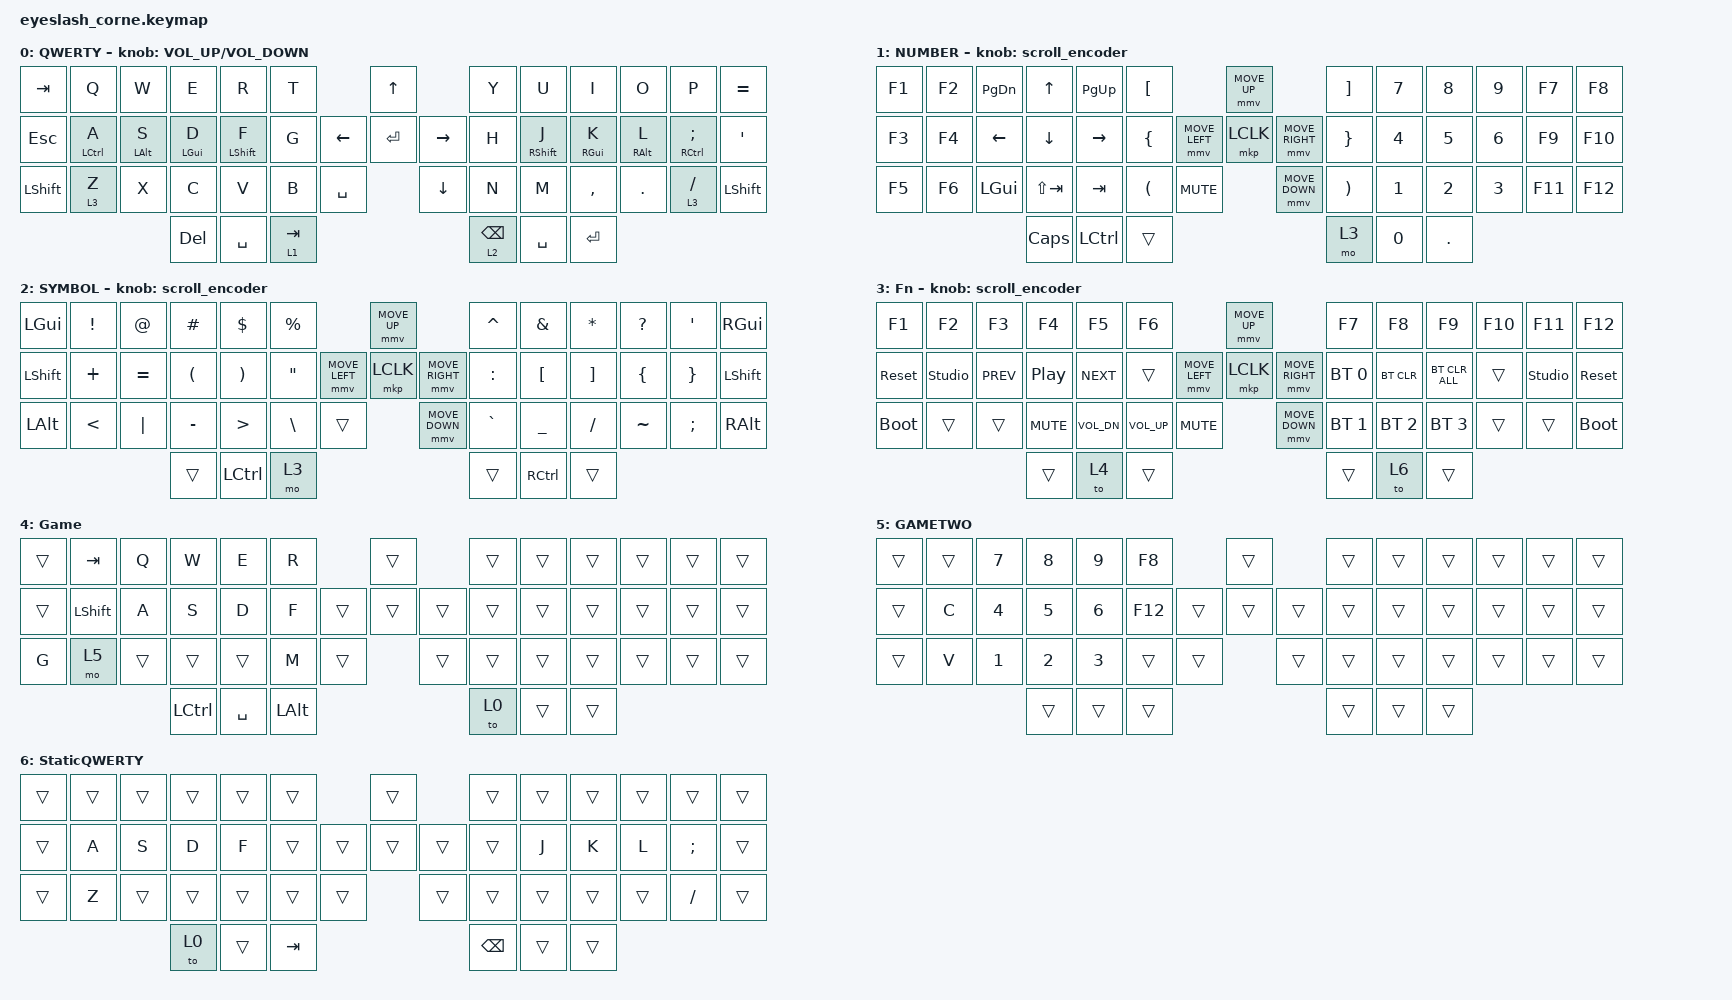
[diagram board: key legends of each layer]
#define ZMK_POINTING_DEFAULT_MOVE_VAL 1200  // 600
#define ZMK_POINTING_DEFAULT_SCRL_VAL 25   // 10

#include <input/processors.dtsi>
#include <zephyr/dt-bindings/input/input-event-codes.h>
#include <behaviors.dtsi>
#include <dt-bindings/zmk/bt.h>
#include <dt-bindings/zmk/keys.h>
#include <dt-bindings/zmk/pointing.h>
#include <dt-bindings/zmk/rgb.h>

&mmv_input_listener { input-processors = <&zip_xy_scaler 2 1>; };

&msc_input_listener { input-processors = <&zip_scroll_scaler 2 1>; };

&msc {
    acceleration-exponent = <1>;      // 0
    time-to-max-speed-ms = <100>;       // 300
    delay-ms = <0>;                   // 0
};

&mmv {
    time-to-max-speed-ms = <500>;
    acceleration-exponent = <1>;
    trigger-period-ms = <16>;
};

&mt {
    flavor = "tap-preferred";
    tapping-term-ms = <200>;
    quick-tap-ms = <200>;
};

/ {
    behaviors {
        td0: td0 {
            compatible = "zmk,behavior-tap-dance";
            display-name = "Shift/Caps Lock Tap Dance";
            #binding-cells = <0>;
            bindings = <&kp LEFT_SHIFT>, <&kp CAPS>;
        };
    };

    rgb_encoder: rgb_encoder {
        compatible = "zmk,behavior-sensor-rotate";
        #sensor-binding-cells = <0>;
        bindings = <&rgb_ug RGB_BRI>, <&rgb_ug RGB_BRD>;
    };

    scroll_encoder: scroll_encoder {
        compatible = "zmk,behavior-sensor-rotate";
        #sensor-binding-cells = <0>;
        bindings = <&msc SCRL_DOWN>, <&msc SCRL_UP>;

        tap-ms = <100>;
    };

    keymap {
        compatible = "zmk,keymap";

        QWERTY {
            display-name = "QWERTY";
            bindings = <
&kp TAB         &kp Q               &kp W           &kp E           &kp R             &kp T                             &kp UP                &kp Y            &kp U              &kp I            &kp O            &kp P                   &kp EQUAL
&kp ESCAPE      &mt LEFT_CONTROL A  &mt LEFT_ALT S  &mt LEFT_GUI D  &mt LEFT_SHIFT F  &kp G                   &kp LEFT  &kp ENTER  &kp RIGHT  &kp H            &mt RIGHT_SHIFT J  &mt RIGHT_GUI K  &mt RIGHT_ALT L  &mt RIGHT_CONTROL SEMI  &kp SQT
&kp LEFT_SHIFT  &lt 3 Z             &kp X           &kp C           &kp V             &kp B      &kp SPACE              &kp DOWN              &kp N            &kp M              &kp COMMA        &kp DOT          &lt 3 SLASH             &kp LEFT_SHIFT
                                                    &kp DELETE      &kp SPACE         &lt 1 TAB                                               &lt 2 BACKSPACE  &kp SPACE          &kp ENTER
            >;

            sensor-bindings = <&inc_dec_kp C_VOLUME_UP C_VOLUME_DOWN>;
        };

        Nav {
            display-name = "NUMBER";
            bindings = <
&kp F1  &kp F2  &kp PAGE_DOWN  &kp UP_ARROW    &kp PAGE_UP       &kp LEFT_BRACKET                                    &mmv MOVE_UP                     &kp RIGHT_BRACKET      &kp N7        &kp N8        &kp N9        &kp F7   &kp F8
&kp F3  &kp F4  &kp LEFT       &kp DOWN_ARROW  &kp RIGHT         &kp LEFT_BRACE                      &mmv MOVE_LEFT  &mkp LCLK       &mmv MOVE_RIGHT  &kp RIGHT_BRACE        &kp NUMBER_4  &kp N5        &kp NUMBER_6  &kp F9   &kp F10
&kp F5  &kp F6  &kp LEFT_GUI   &kp LS(TAB)     &kp TAB           &kp LEFT_PARENTHESIS  &kp C_MUTE                    &mmv MOVE_DOWN                   &kp RIGHT_PARENTHESIS  &kp NUMBER_1  &kp NUMBER_2  &kp NUMBER_3  &kp F11  &kp F12
                               &kp CAPSLOCK    &kp LEFT_CONTROL  &trans                                                                               &mo 3                  &kp N0        &kp DOT
            >;

            sensor-bindings = <&scroll_encoder>;
        };

        Symbols {
            display-name = "SYMBOL";
            bindings = <
&kp LEFT_GUI    &kp EXCL       &kp AT     &kp HASH              &kp DLLR               &kp PRCNT                                    &mmv MOVE_UP                     &kp CARET  &kp AMPS           &kp ASTRK          &kp QUESTION    &kp APOSTROPHE   &kp RIGHT_GUI
&kp LEFT_SHIFT  &kp PLUS       &kp EQUAL  &kp LEFT_PARENTHESIS  &kp RIGHT_PARENTHESIS  &kp DOUBLE_QUOTES            &mmv MOVE_LEFT  &mkp LCLK       &mmv MOVE_RIGHT  &kp COLON  &kp LEFT_BRACKET   &kp RIGHT_BRACKET  &kp LEFT_BRACE  &kp RIGHT_BRACE  &kp LEFT_SHIFT
&kp LEFT_ALT    &kp LESS_THAN  &kp PIPE   &kp MINUS             &kp GREATER_THAN       &kp BACKSLASH      &trans                    &mmv MOVE_DOWN                   &kp GRAVE  &kp UNDER          &kp SLASH          &kp TILDE       &kp SEMI         &kp RIGHT_ALT
                                          &trans                &kp LEFT_CONTROL       &mo 3                                                                         &trans     &kp RIGHT_CONTROL  &trans
            >;

            sensor-bindings = <&scroll_encoder>;
        };

        ADJ {
            display-name = "Fn";
            bindings = <
&kp F1       &kp F2          &kp F3      &kp F4            &kp F5        &kp F6                                         &mmv MOVE_UP                     &kp F7        &kp F8        &kp F9          &kp F10  &kp F11         &kp F12
&sys_reset   &studio_unlock  &kp K_PREV  &kp C_PLAY_PAUSE  &kp K_NEXT    &trans                         &mmv MOVE_LEFT  &mkp LCLK       &mmv MOVE_RIGHT  &bt BT_SEL 0  &bt BT_CLR    &bt BT_CLR_ALL  &trans   &studio_unlock  &sys_reset
&bootloader  &trans          &trans      &kp K_MUTE        &kp C_VOL_DN  &kp C_VOLUME_UP  &kp C_MUTE                    &mmv MOVE_DOWN                   &bt BT_SEL 1  &bt BT_SEL 2  &bt BT_SEL 3    &trans   &trans          &bootloader
                                         &trans            &to 4         &trans                                                                          &trans        &to 6         &trans
            >;

            sensor-bindings = <&scroll_encoder>;
        };

        Game {
            bindings = <
&trans  &kp TAB         &kp Q   &kp W             &kp E      &kp R                           &trans          &trans  &trans  &trans  &trans  &trans  &trans
&trans  &kp LEFT_SHIFT  &kp A   &kp S             &kp D      &kp F                   &trans  &trans  &trans  &trans  &trans  &trans  &trans  &trans  &trans
&kp G   &mo 5           &trans  &trans            &trans     &kp M         &trans            &trans          &trans  &trans  &trans  &trans  &trans  &trans
                                &kp LEFT_CONTROL  &kp SPACE  &kp LEFT_ALT                                    &to 0   &trans  &trans
            >;

            label = "Game";
        };

        GameTwo {
            bindings = <
&trans  &trans  &kp N7        &kp N8        &kp N9        &kp F8                     &trans          &trans  &trans  &trans  &trans  &trans  &trans
&trans  &kp C   &kp NUMBER_4  &kp N5        &kp NUMBER_6  &kp F12            &trans  &trans  &trans  &trans  &trans  &trans  &trans  &trans  &trans
&trans  &kp V   &kp NUMBER_1  &kp NUMBER_2  &kp NUMBER_3  &trans   &trans            &trans          &trans  &trans  &trans  &trans  &trans  &trans
                              &trans        &trans        &trans                                     &trans  &trans  &trans
            >;

            label = "GAMETWO";
        };

        StaticQWERTY {
            bindings = <
&trans  &trans  &trans  &trans  &trans  &trans                     &trans          &trans         &trans  &trans  &trans  &trans         &trans
&trans  &kp A   &kp S   &kp D   &kp F   &trans             &trans  &trans  &trans  &trans         &kp J   &kp K   &kp L   &kp SEMICOLON  &trans
&trans  &kp Z   &trans  &trans  &trans  &trans   &trans            &trans          &trans         &trans  &trans  &trans  &kp SLASH      &trans
                        &to 0   &trans  &kp TAB                                    &kp BACKSPACE  &trans  &trans
            >;

            label = "StaticQWERTY";
        };
    };
};
